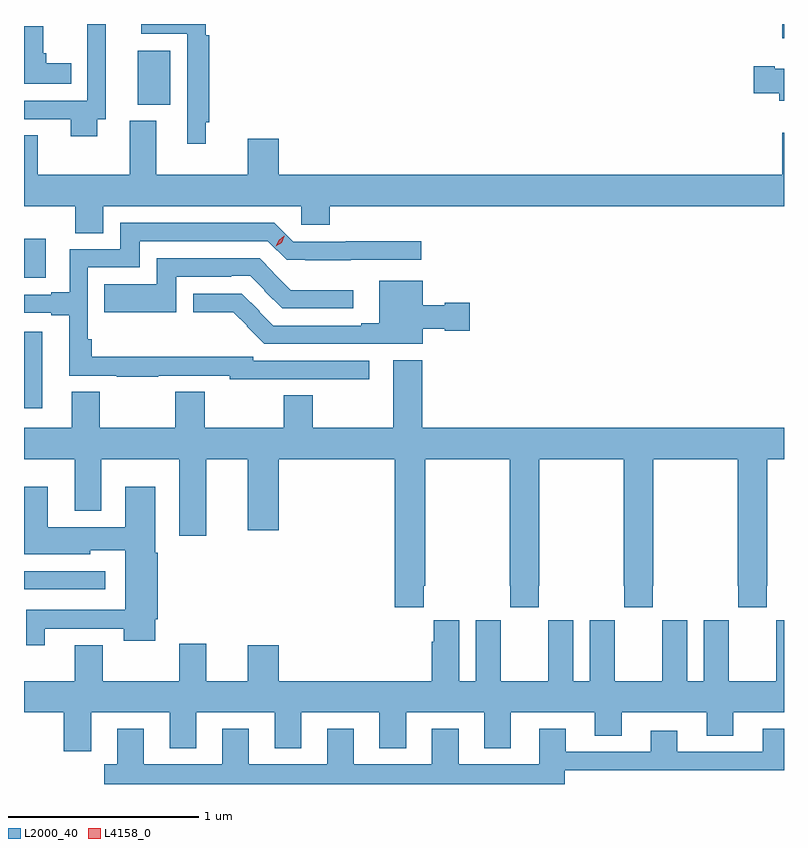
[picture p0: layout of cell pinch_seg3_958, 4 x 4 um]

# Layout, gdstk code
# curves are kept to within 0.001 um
import gdstk
lib = gdstk.Library(unit=1e-6, precision=1e-09)
def R(c, l, rs):  # rectangles x0, y0, x1, y1
    for r in rs: c.add(gdstk.rectangle(r[:2], r[2:], *l))
def P(c, l, *ps):  # polygons
    for p in ps: c.add(gdstk.Polygon(p, *l))
L2000_40 = (2000, 40)
L4158_0 = (4158, 0)

pinch_seg3_958 = lib.new_cell('pinch_seg3_958')
R(pinch_seg3_958, L2000_40, [(439.554,716.214,439.981,716.31), (439.554,717.168,439.651,717.571), (439.554,717.854,439.669,718.06), (440.153,718.766,440.323,719.05), (443.544,719.115,443.554,719.19)])
P(pinch_seg3_958, L2000_40, [(440.511,718.672),(440.528,718.672),(440.528,719.132),(440.511,719.132),(440.511,719.19),(440.171,719.19),(440.171,719.139),(440.412,719.139),(440.412,718.56),(440.511,718.56)],
  [(439.939,718.689),(439.984,718.689),(439.984,719.19),(439.886,719.19),(439.886,719.01),(439.887,719.01),(439.887,718.785),(439.554,718.785),(439.554,718.689),(439.799,718.689),(439.799,718.598),(439.939,718.598)],
  [(439.802,718.984),(439.672,718.984),(439.672,719.037),(439.654,719.037),(439.654,719.179),(439.554,719.179),(439.554,718.875),(439.802,718.875)],
  [(443.554,718.954),(443.506,718.954),(443.506,718.967),(443.394,718.967),(443.394,718.825),(443.528,718.825),(443.528,718.787),(443.554,718.787)],
  [(439.972,718.232),(441.012,718.232),(441.012,718.134),(441.164,718.134),(441.164,718.232),(443.554,718.232),(443.554,718.618),(443.544,718.618),(443.544,718.396),(440.896,718.396),(440.896,718.585),(440.732,718.585),(440.732,718.396),(440.251,718.396),(440.251,718.681),(440.111,718.681),(440.111,718.396),(439.627,718.396),(439.627,718.604),(439.554,718.604),(439.554,718.232),(439.825,718.232),(439.825,718.09),(439.972,718.09)],
  [(441.37,717.417),(440.76,717.417),(440.76,717.438),(439.91,717.438),(439.91,717.532),(439.89,717.532),(439.89,717.909),(440.164,717.909),(440.164,718.047),(440.838,718.047),(440.937,717.948),(441.034,717.947),(441.646,717.948),(441.646,718.046),(441.247,718.046),(441.247,718.044),(440.97,718.044),(440.871,718.143),(440.06,718.143),(440.06,718.005),(439.794,718.005),(439.794,717.778),(439.697,717.778),(439.697,717.765),(439.554,717.765),(439.554,717.669),(439.697,717.669),(439.697,717.657),(439.793,717.657),(439.793,717.339),(440.041,717.339),(440.041,717.334),(440.261,717.334),(440.261,717.339),(440.637,717.339),(440.637,717.321),(441.37,717.321)],
  [(440.356,717.861),(440.645,717.861),(440.645,717.864),(440.745,717.864),(440.821,717.788),(440.819,717.786),(440.912,717.693),(441.286,717.693),(441.286,717.79),(440.957,717.79),(440.865,717.882),(440.867,717.884),(440.794,717.957),(440.252,717.957),(440.252,717.82),(439.977,717.82),(439.977,717.674),(440.356,717.674)],
  [(441.652,717.587),(441.768,717.587),(441.768,717.575),(441.901,717.575),(441.901,717.722),(441.768,717.722),(441.768,717.709),(441.652,717.709),(441.652,717.838),(441.425,717.838),(441.425,717.616),(441.329,717.616),(441.329,717.603),(440.865,717.603),(440.792,717.676),(440.794,717.678),(440.701,717.771),(440.445,717.771),(440.445,717.673),(440.656,717.673),(440.728,717.601),(440.726,717.6),(440.819,717.507),(441.652,717.507)],
  [(440.505,717.254),(440.35,717.254),(440.35,717.064),(439.953,717.064),(439.953,717.254),(439.805,717.254),(439.805,717.064),(439.554,717.064),(439.554,716.9),(439.82,716.9),(439.82,716.627),(439.96,716.627),(439.96,716.9),(440.372,716.9),(440.372,716.496),(440.512,716.496),(440.512,716.9),(440.732,716.9),(440.732,716.526),(440.896,716.526),(440.896,716.9),(441.506,716.9),(441.506,716.121),(441.659,716.121),(441.659,716.233),(441.666,716.233),(441.666,716.9),(442.111,716.9),(442.111,716.233),(442.113,716.233),(442.113,716.121),(442.263,716.121),(442.263,716.233),(442.266,716.233),(442.266,716.9),(442.711,716.9),(442.711,716.233),(442.713,716.233),(442.713,716.121),(442.863,716.121),(442.863,716.233),(442.866,716.233),(442.866,716.9),(443.311,716.9),(443.311,716.233),(443.313,716.233),(443.313,716.121),(443.463,716.121),(443.463,716.233),(443.466,716.233),(443.466,716.9),(443.554,716.9),(443.554,717.064),(441.65,717.064),(441.65,717.421),(441.497,717.421),(441.497,717.064),(441.075,717.064),(441.075,717.236),(440.92,717.236),(440.92,717.064),(440.505,717.064)],
  [(439.663,716.006),(440.08,716.006),(440.08,715.944),(440.245,715.944),(440.245,716.056),(440.258,716.056),(440.258,716.408),(440.245,716.408),(440.245,716.755),(440.087,716.755),(440.087,716.542),(439.678,716.542),(439.678,716.755),(439.554,716.755),(439.554,716.399),(439.902,716.399),(439.902,716.42),(440.087,716.42),(440.087,716.107),(439.565,716.107),(439.565,715.92),(439.663,715.92)],
  [(439.909,715.568),(440.321,715.568),(440.321,715.379),(440.461,715.379),(440.461,715.568),(440.873,715.568),(440.873,715.379),(441.013,715.379),(441.013,715.568),(441.425,715.568),(441.425,715.379),(441.565,715.379),(441.565,715.568),(441.977,715.568),(441.977,715.379),(442.117,715.379),(442.117,715.568),(442.559,715.568),(442.559,715.444),(442.699,715.444),(442.699,715.568),(443.147,715.568),(443.147,715.444),(443.287,715.444),(443.287,715.568),(443.554,715.568),(443.554,716.053),(443.514,716.053),(443.514,715.94),(443.513,715.94),(443.513,715.732),(443.263,715.732),(443.263,715.94),(443.262,715.94),(443.262,716.053),(443.132,716.053),(443.132,715.732),(443.044,715.732),(443.044,716.053),(442.914,716.053),(442.914,715.94),(442.913,715.94),(442.913,715.732),(442.663,715.732),(442.663,715.94),(442.662,715.94),(442.662,716.053),(442.532,716.053),(442.532,715.732),(442.444,715.732),(442.444,716.053),(442.314,716.053),(442.314,715.94),(442.313,715.94),(442.313,715.732),(442.063,715.732),(442.063,715.94),(442.062,715.94),(442.062,716.053),(441.932,716.053),(441.932,715.732),(441.844,715.732),(441.844,716.053),(441.71,716.053),(441.71,715.94),(441.701,715.94),(441.701,715.732),(440.896,715.732),(440.896,715.921),(440.732,715.921),(440.732,715.732),(440.512,715.732),(440.512,715.927),(440.372,715.927),(440.372,715.732),(439.968,715.732),(439.968,715.921),(439.82,715.921),(439.82,715.732),(439.554,715.732),(439.554,715.568),(439.762,715.568),(439.762,715.362),(439.909,715.362)],
  [(442.399,715.263),(443.554,715.263),(443.554,715.48),(443.441,715.48),(443.441,715.359),(442.993,715.359),(442.993,715.471),(442.853,715.471),(442.853,715.359),(442.405,715.359),(442.405,715.48),(442.265,715.48),(442.265,715.294),(441.841,715.294),(441.841,715.48),(441.701,715.48),(441.701,715.294),(441.289,715.294),(441.289,715.48),(441.149,715.48),(441.149,715.294),(440.737,715.294),(440.737,715.48),(440.597,715.48),(440.597,715.294),(440.185,715.294),(440.185,715.48),(440.045,715.48),(440.045,715.294),(439.976,715.294),(439.976,715.19),(442.399,715.19)])
P(pinch_seg3_958, L4158_0, [(440.879,718.019),(440.879,718.019),(440.894,718.053),(440.925,718.075),(440.925,718.075),(440.925,718.074),(440.91,718.04),(440.879,718.019)])

lib.write_gds('pinch_seg3_958.gds')
